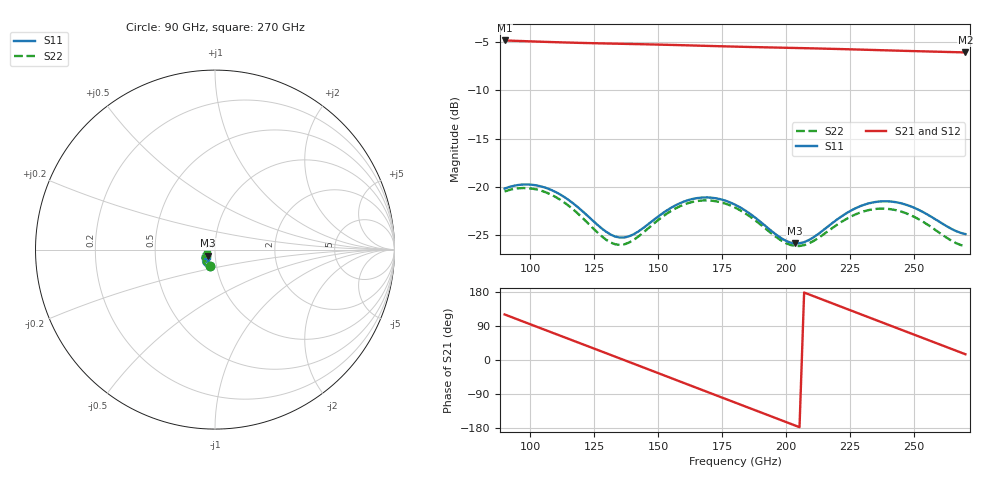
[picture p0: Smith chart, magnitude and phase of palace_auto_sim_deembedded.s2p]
! Created with skrf 1.11.0 (http://scikit-rf.org).
# GHz S DB R 50.0
!freq dBS11 angS11 dBS21 angS21 dBS12 angS12 dBS22 angS22
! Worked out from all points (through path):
!   101 points, 90 GHz to 270 GHz, reference 50 ohm
!   highest |S21| = -4.86 dB at 90 GHz (marker M1); lowest = -6.1 dB at 270 GHz (marker M2)
!   group delay of S21, straight-line fit = 7.18 ps
!   lowest |S11| = -25.8 dB at 203.4 GHz (marker M3), VSWR 1.11, Z = 46.2 - j3.07 ohm
!   |S11| at or under -10 dB: start of sweep to end of sweep
!   |S22| runs from -26.1 to -20.1 dB; largest |S21 - S12| = 9.5e-14
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90  -20.16 -106.9  -4.86 120.2  -4.86 120.2  -20.46 -107.7
97.2  -19.74 -116.9  -4.92 101.6  -4.92 101.6  -20.10 -118.2
104.4  -19.95 -127.4  -4.99 83.0  -4.99 83.0  -20.39 -129.1
111.6  -20.76 -136.6  -5.05 64.5  -5.05 64.5  -21.29 -138.6
120.6  -22.54 -143.4  -5.12 41.3  -5.12 41.3  -23.23 -145.5
127.8  -24.25 -141.6  -5.16 22.8  -5.16 22.8  -25.06 -143.0
135  -25.22 -131.9  -5.20 4.2  -5.20 4.2  -25.98 -131.9
142.2  -24.60 -121.7  -5.24 -14.4  -5.24 -14.4  -25.13 -121.4
151.2  -22.81 -119.2  -5.29 -37.7  -5.29 -37.7  -23.16 -120.1
165.6  -21.13 -131.7  -5.39 -75.0  -5.39 -75.0  -21.44 -134.2
172.8  -21.17 -140.0  -5.45 -93.6  -5.45 -93.6  -21.48 -143.2
180  -21.82 -147.5  -5.49 -112.2  -5.49 -112.2  -22.12 -151.2
192.6  -24.18 -152.1  -5.57 -144.7  -5.57 -144.7  -24.44 -157.0
203.4  -25.83 -139.6  -5.63 -172.7  -5.63 -172.7  -26.09 -146.2
210.6  -25.21 -128.6  -5.68 168.7  -5.68 168.7  -25.59 -136.3
217.8  -23.77 -124.5  -5.72 150.1  -5.72 150.1  -24.28 -132.7
226.8  -22.23 -128.0  -5.79 126.7  -5.79 126.7  -22.86 -136.7
234  -21.58 -134.3  -5.84 108.1  -5.84 108.1  -22.30 -143.3
241.2  -21.51 -141.3  -5.90 89.5  -5.90 89.5  -22.31 -150.6
253.8  -22.64 -150.5  -5.99 57.0  -5.99 57.0  -23.65 -160.3
262.8  -24.07 -150.0  -6.05 33.8  -6.05 33.8  -25.26 -159.3
270  -24.86 -143.3  -6.09 15.2  -6.09 15.2  -26.11 -151.4
